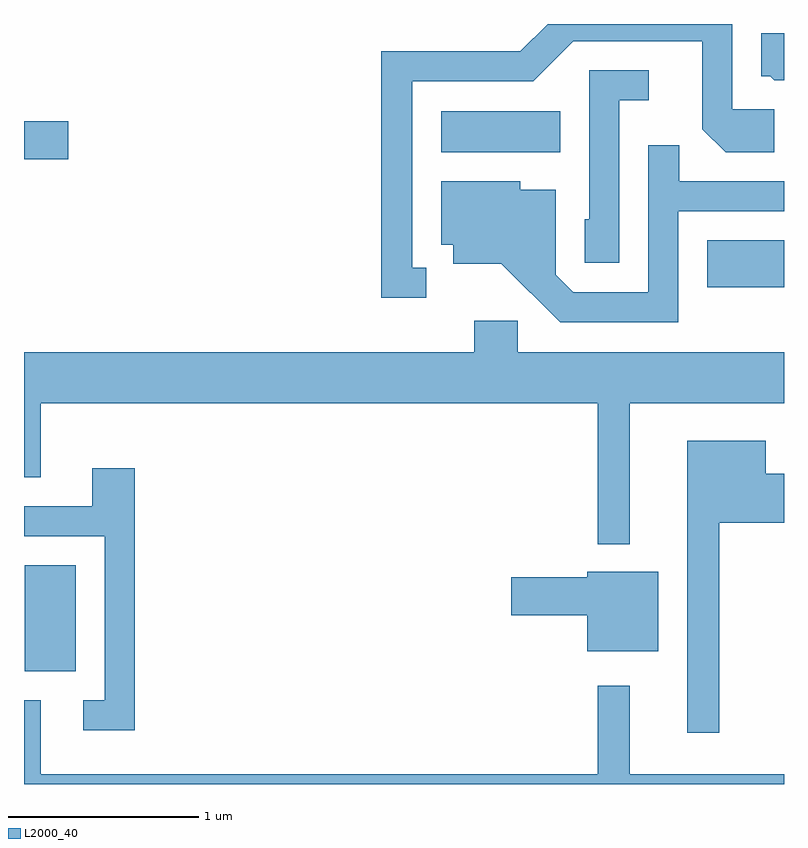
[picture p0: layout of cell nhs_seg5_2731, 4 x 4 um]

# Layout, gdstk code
import gdstk
lib = gdstk.Library(unit=1e-6, precision=1e-09)
def R(c, l, rs):  # rectangles x0, y0, x1, y1
    for r in rs: c.add(gdstk.rectangle(r[:2], r[2:], *l))
def P(c, l, *ps):  # polygons
    for p in ps: c.add(gdstk.Polygon(p, *l))
L2000_40 = (2000, 40)

nhs_seg5_2731 = lib.new_cell('nhs_seg5_2731')
R(nhs_seg5_2731, L2000_40, [(265.616,1508.666,265.884,1509.224), (269.206,1510.686,269.611,1510.934), (265.611,1511.361,265.844,1511.559), (267.806,1511.396,268.434,1511.614)])
P(nhs_seg5_2731, L2000_40, [(267.728,1510.789),(267.654,1510.789),(267.654,1511.771),(268.292,1511.771),(268.502,1511.981),(269.181,1511.981),(269.181,1511.519),(269.304,1511.396),(269.559,1511.396),(269.559,1511.624),(269.339,1511.624),(269.339,1512.072),(268.367,1512.072),(268.224,1511.929),(267.491,1511.929),(267.491,1510.631),(267.728,1510.631)],
  [(269.611,1512.024),(269.491,1512.024),(269.491,1511.796),(269.539,1511.796),(269.559,1511.776),(269.611,1511.776)],
  [(268.744,1511.671),(268.898,1511.671),(268.898,1511.829),(268.586,1511.829),(268.586,1511.044),(268.561,1511.044),(268.561,1510.816),(268.744,1510.816)],
  [(269.054,1511.086),(269.611,1511.086),(269.611,1511.244),(269.059,1511.244),(269.059,1511.433),(268.896,1511.433),(268.896,1510.659),(268.502,1510.659),(268.409,1510.752),(268.409,1511.199),(268.224,1511.199),(268.224,1511.244),(267.806,1511.244),(267.806,1510.911),(267.871,1510.911),(267.871,1510.811),(268.124,1510.811),(268.434,1510.501),(269.054,1510.501)],
  [(268.799,1510.076),(269.611,1510.076),(269.611,1510.344),(268.209,1510.344),(268.209,1510.509),(267.981,1510.509),(267.981,1510.344),(265.611,1510.344),(265.611,1509.686),(265.699,1509.686),(265.699,1510.076),(268.631,1510.076),(268.631,1509.333),(268.799,1509.333)],
  [(269.269,1509.446),(269.611,1509.446),(269.611,1509.704),(269.514,1509.704),(269.514,1509.879),(269.101,1509.879),(269.101,1508.343),(269.269,1508.343)],
  [(266.194,1509.734),(265.971,1509.734),(265.971,1509.534),(265.611,1509.534),(265.611,1509.376),(266.036,1509.376),(266.036,1508.514),(265.923,1508.514),(265.923,1508.356),(266.194,1508.356)],
  [(268.949,1509.189),(268.576,1509.189),(268.576,1509.159),(268.176,1509.159),(268.176,1508.961),(268.576,1508.961),(268.576,1508.771),(268.949,1508.771)],
  [(269.611,1508.124),(268.799,1508.124),(268.799,1508.588),(268.631,1508.588),(268.631,1508.124),(265.699,1508.124),(265.699,1508.514),(265.611,1508.514),(265.611,1508.072),(269.611,1508.072)])

lib.write_gds('nhs_seg5_2731.gds')
